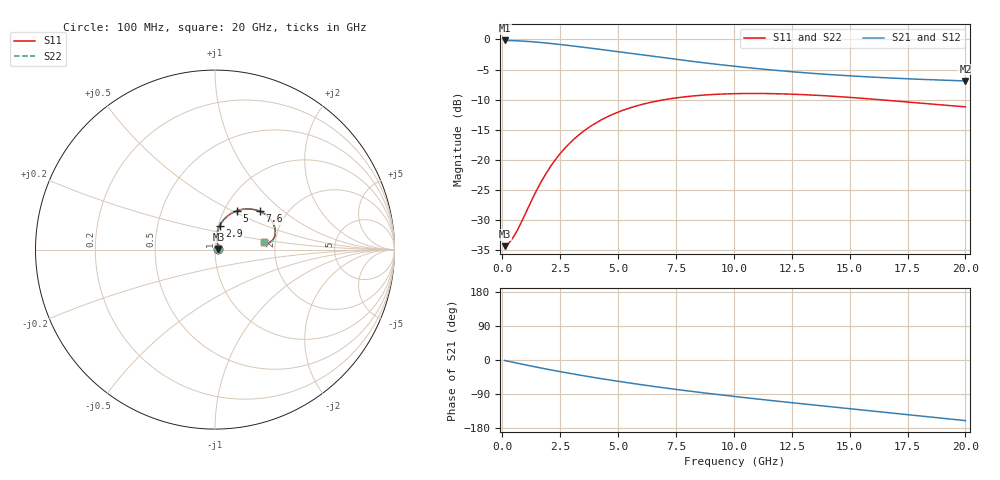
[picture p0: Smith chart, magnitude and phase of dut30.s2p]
! Created with skrf 1.9.0 (http://scikit-rf.org).
# GHz S RI R 50.0
!freq ReS11 ImS11 ReS21 ImS21 ReS12 ImS12 ReS22 ImS22
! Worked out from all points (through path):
!   200 points, 100 MHz to 20 GHz, reference 50 ohm
!   highest |S21| = -0.17 dB at 100 MHz (marker M1); lowest = -6.9 dB at 20 GHz (marker M2)
!   group delay of S21, straight-line fit = 21 ps
!   lowest |S11| = -34.4 dB at 100 MHz (marker M3), VSWR 1.04, Z = 51.9 + j0.319 ohm
!   |S11| at or under -10 dB: start of sweep to 7.03 GHz; 16.23 GHz to end of sweep
!   |S22| runs from -34.4 to -9.0 dB; largest |S21 - S12| = 2.4e-15
!   S11 on the Smith chart (normalised r, x): 100 MHz: 1.04, +0.01; 2.9 GHz: 1.02, +0.28; 5 GHz: 1.15, +0.53; 7.6 GHz: 1.47, +0.70; 20 GHz: 1.74, +0.16
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0.1  0.0188 0.00307  0.9807 -0.0227  0.9807 -0.0227  0.0188 0.00307
0.3  0.0184 0.0089  0.9773 -0.0674  0.9773 -0.0674  0.0184 0.0089
0.6  0.0168 0.0183  0.9662 -0.1331  0.9662 -0.1331  0.0168 0.0183
1  0.0137 0.0329  0.9414 -0.2165  0.9414 -0.2165  0.0137 0.0329
1.4  0.0109 0.0506  0.9071 -0.2932  0.9071 -0.2932  0.0109 0.0506
1.9  0.0105 0.0766  0.8541 -0.3784  0.8541 -0.3784  0.0105 0.0766
2.4  0.0156 0.1052  0.7933 -0.4512  0.7933 -0.4512  0.0156 0.1052
2.9  0.0268 0.1338  0.7277 -0.512  0.7277 -0.512  0.0268 0.1338
3.5  0.0478 0.1652  0.6457 -0.5705  0.6457 -0.5705  0.0478 0.1652
4.2  0.08 0.1945  0.5489 -0.6205  0.5489 -0.6205  0.08 0.1945
5  0.1223 0.2164  0.4405 -0.6569  0.4405 -0.6569  0.1223 0.2164
5.9  0.1709 0.2264  0.3256 -0.6757  0.3256 -0.6757  0.1709 0.2264
6.8  0.2156 0.2236  0.2207 -0.6764  0.2207 -0.6764  0.2156 0.2236
7.6  0.2497 0.2132  0.1369 -0.6656  0.1369 -0.6656  0.2497 0.2132
8.8  0.2895 0.1888  0.0279 -0.6358  0.0279 -0.6358  0.2895 0.1888
10.1  0.3175 0.1572  -0.0701 -0.5922  -0.0701 -0.5922  0.3175 0.1572
11.7  0.3338 0.1182  -0.1671 -0.5301  -0.1671 -0.5301  0.3338 0.1182
13.4  0.3346 0.0827  -0.2486 -0.4594  -0.2486 -0.4594  0.3346 0.0827
15  0.3248 0.0577  -0.3098 -0.39  -0.3098 -0.39  0.3248 0.0577
16.7  0.3079 0.0417  -0.3614 -0.3134  -0.3614 -0.3134  0.3079 0.0417
18.4  0.2887 0.0367  -0.4001 -0.2334  -0.4001 -0.2334  0.2887 0.0367
20  0.2722 0.0416  -0.4245 -0.155  -0.4245 -0.155  0.2722 0.0416
